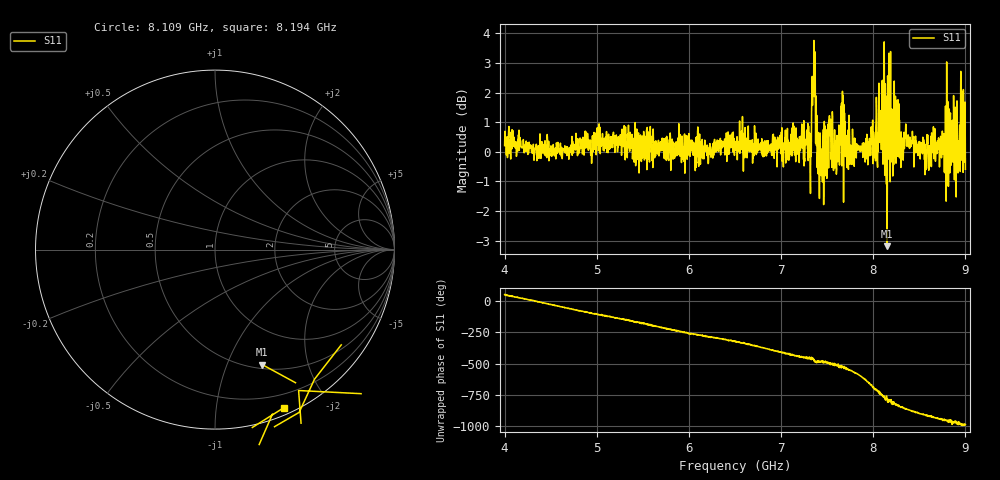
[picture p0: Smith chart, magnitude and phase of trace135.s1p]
! Created with skrf 1.8.0 (http://scikit-rf.org).
# Hz S RI R 50.0
!freq ReS11 ImS11
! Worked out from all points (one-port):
!   1601 points, 4 GHz to 9 GHz, reference 50 ohm
!   lowest |S11| = -3.2 dB at 8.15 GHz (marker M1), VSWR 5.51, Z = 27.3 - j67.2 ohm
!   |S11| at or under -10 dB: nowhere
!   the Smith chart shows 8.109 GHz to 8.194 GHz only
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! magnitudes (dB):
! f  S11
! 4 GHz  0.2
! 4.625 GHz  -0.2
! 5.25 GHz  0.3
! 5.875 GHz  0.1
! 6.5 GHz  0.4
! 7.125 GHz  0.2
! 7.303 GHz  -0.2
! 7.356 GHz  3.8
! 7.397 GHz  0.0
! 7.425 GHz  0.6
! 7.534 GHz  0.6
! 7.591 GHz  0.1
! 7.65 GHz  1.5
! 7.75 GHz  0.0
! 8.022 GHz  0.0
! 8.106 GHz  -0.4
! 8.128 GHz  0.7
! 8.15 GHz  -3.2
! 8.181 GHz  1.2
! 8.209 GHz  0.6
! 8.253 GHz  0.5
! 8.312 GHz  0.4
! 8.375 GHz  0.4
! 8.769 GHz  0.5
! 8.822 GHz  1.3
! 8.919 GHz  -0.7
! 8.972 GHz  0.5
! 9 GHz  -0.6
